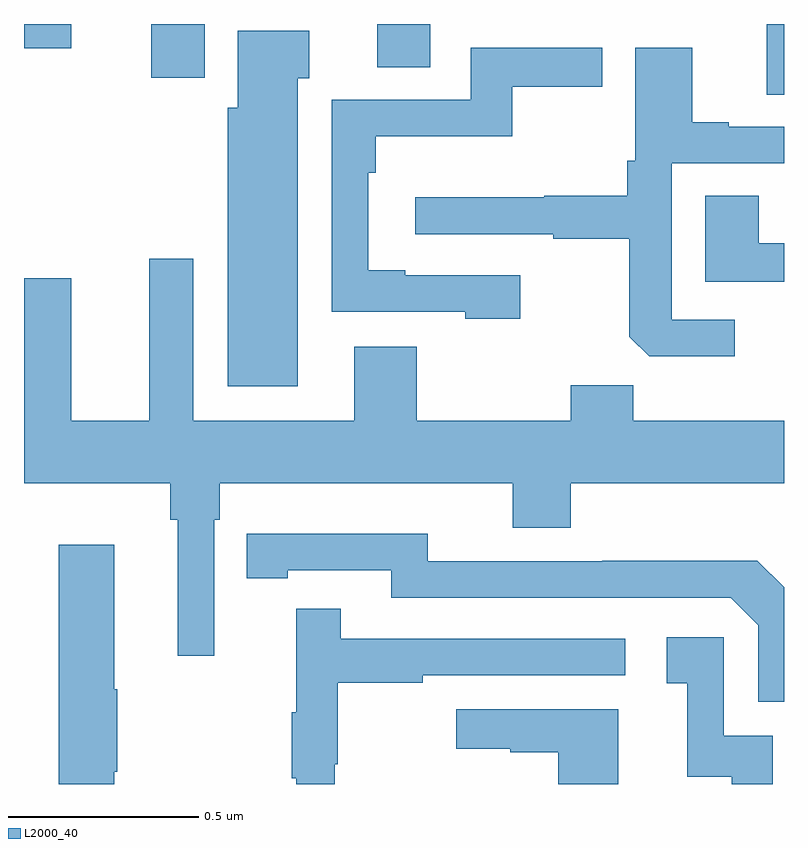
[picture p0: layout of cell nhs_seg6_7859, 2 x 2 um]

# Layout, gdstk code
import gdstk
lib = gdstk.Library(unit=1e-6, precision=1e-09)
def R(c, l, rs):  # rectangles x0, y0, x1, y1
    for r in rs: c.add(gdstk.rectangle(r[:2], r[2:], *l))
def P(c, l, *ps):  # polygons
    for p in ps: c.add(gdstk.Polygon(p, *l))
L2000_40 = (2000, 40)

nhs_seg6_7859 = lib.new_cell('nhs_seg6_7859')
R(nhs_seg6_7859, L2000_40, [(214.955,992.314,215,992.5), (213.335,992.358,213.475,992.5), (213.929,992.386,214.069,992.5), (213,992.436,213.124,992.5)])
P(nhs_seg6_7859, L2000_40, [(213.721,992.357),(213.751,992.357),(213.751,992.482),(213.563,992.482),(213.563,992.28),(213.536,992.28),(213.536,991.547),(213.721,991.547)],
  [(214.306,991.839),(214.003,991.839),(214.003,991.852),(213.906,991.852),(213.906,992.108),(213.926,992.108),(213.926,992.204),(214.285,992.204),(214.285,992.335),(214.522,992.335),(214.522,992.438),(214.176,992.438),(214.176,992.301),(213.81,992.301),(213.81,991.743),(214.161,991.743),(214.161,991.724),(214.306,991.724)],
  [(214.87,991.722),(214.704,991.722),(214.704,992.133),(215,992.133),(215,992.229),(214.855,992.229),(214.855,992.242),(214.759,992.242),(214.759,992.437),(214.608,992.437),(214.608,992.14),(214.588,992.14),(214.588,992.048),(214.369,992.048),(214.369,992.044),(214.029,992.044),(214.029,991.947),(214.393,991.947),(214.393,991.935),(214.593,991.935),(214.593,991.677),(214.645,991.626),(214.87,991.626)],
  [(215,991.923),(214.933,991.923),(214.933,992.048),(214.793,992.048),(214.793,991.822),(215,991.822)],
  [(213.501,991.196),(213.515,991.196),(213.515,991.292),(214.286,991.292),(214.286,991.175),(214.439,991.175),(214.439,991.292),(215,991.292),(215,991.456),(214.603,991.456),(214.603,991.549),(214.439,991.549),(214.439,991.456),(214.033,991.456),(214.033,991.651),(213.869,991.651),(213.869,991.456),(213.445,991.456),(213.445,991.882),(213.329,991.882),(213.329,991.456),(213.124,991.456),(213.124,991.831),(213,991.831),(213,991.292),(213.385,991.292),(213.385,991.196),(213.404,991.196),(213.404,990.837),(213.501,990.837)],
  [(215,991.018),(214.93,991.088),(214.522,991.088),(214.522,991.086),(214.062,991.086),(214.062,991.159),(213.694,991.159),(213.694,991.158),(213.586,991.158),(213.586,991.042),(213.694,991.042),(213.694,991.062),(213.966,991.062),(213.966,990.99),(214.86,990.99),(214.932,990.918),(214.932,990.717),(215,990.717)],
  [(213.238,990.532),(213.246,990.532),(213.246,990.749),(213.238,990.749),(213.238,991.129),(213.092,991.129),(213.092,990.5),(213.238,990.5)],
  [(213.818,990.552),(213.826,990.552),(213.826,990.766),(214.049,990.766),(214.049,990.786),(214.582,990.786),(214.582,990.882),(213.833,990.882),(213.833,990.961),(213.716,990.961),(213.716,990.689),(213.705,990.689),(213.705,990.515),(213.716,990.515),(213.716,990.5),(213.818,990.5)],
  [(214.971,990.627),(214.842,990.627),(214.842,990.886),(214.692,990.886),(214.692,990.765),(214.745,990.765),(214.745,990.519),(214.863,990.519),(214.863,990.5),(214.971,990.5)],
  [(214.564,990.697),(214.137,990.697),(214.137,990.593),(214.28,990.593),(214.28,990.583),(214.406,990.583),(214.406,990.5),(214.564,990.5)])

lib.write_gds('nhs_seg6_7859.gds')
